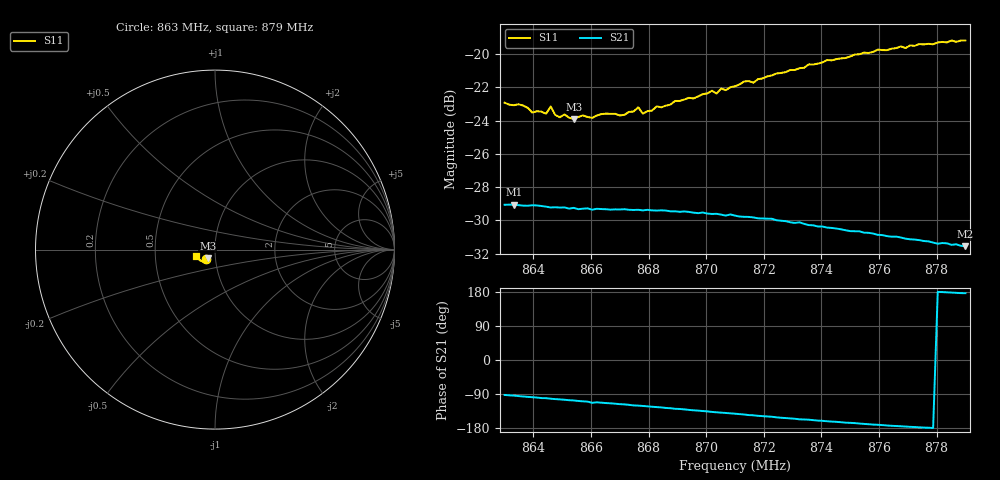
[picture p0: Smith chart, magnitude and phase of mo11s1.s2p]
# HZ S RI R 50
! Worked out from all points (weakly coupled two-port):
!   101 points, 863 MHz to 879 MHz, reference 50 ohm
!   highest |S21| = -29.05 dB at 863.32 MHz (marker M1); lowest = -31.5 dB at 879 MHz (marker M2)
!   lowest |S11| = -23.9 dB at 865.4 MHz (marker M3), VSWR 1.14, Z = 45.9 - j4.56 ohm
!   |S11| at or under -10 dB: start of sweep to end of sweep
!   S12 and S22 are empty: the file has one direction only
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8.63e8  -0.0506 -0.0505  -0.00135 -0.0352  0 0  0 0
8.6332e8  -0.0494 -0.0499  -0.00239 -0.0352  0 0  0 0
8.6364e8  -0.0482 -0.0508  -0.00383 -0.0348  0 0  0 0
8.6396e8  -0.0453 -0.049  -0.00498 -0.0348  0 0  0 0
8.6444e8  -0.0448 -0.0487  -0.00644 -0.0342  0 0  0 0
8.646e8  -0.0486 -0.0498  -0.00731 -0.0338  0 0  0 0
8.6476e8  -0.0429 -0.0496  -0.00792 -0.0337  0 0  0 0
8.6492e8  -0.0425 -0.0487  -0.00832 -0.0335  0 0  0 0
8.6508e8  -0.0424 -0.0504  -0.00894 -0.0334  0 0  0 0
8.654e8  -0.0404 -0.0495  -0.00991 -0.033  0 0  0 0
8.6572e8  -0.0399 -0.0519  -0.0112 -0.0324  0 0  0 0
8.6604e8  -0.0395 -0.0507  -0.0133 -0.0314  0 0  0 0
8.6652e8  -0.0393 -0.0533  -0.0137 -0.0313  0 0  0 0
8.6716e8  -0.0373 -0.0541  -0.0156 -0.0304  0 0  0 0
8.6764e8  -0.0395 -0.0568  -0.0172 -0.0294  0 0  0 0
8.678e8  -0.0377 -0.0544  -0.0176 -0.029  0 0  0 0
8.6828e8  -0.0386 -0.058  -0.0191 -0.028  0 0  0 0
8.6844e8  -0.0383 -0.0577  -0.0195 -0.0277  0 0  0 0
8.71e8  -0.0464 -0.0652  -0.0257 -0.0203  0 0  0 0
8.7372e8  -0.0635 -0.0681  -0.0285 -0.0111  0 0  0 0
8.7644e8  -0.0875 -0.056  -0.0281 -0.00312  0 0  0 0
8.79e8  -0.1042 -0.0349  -0.0264 0.00171  0 0  0 0
